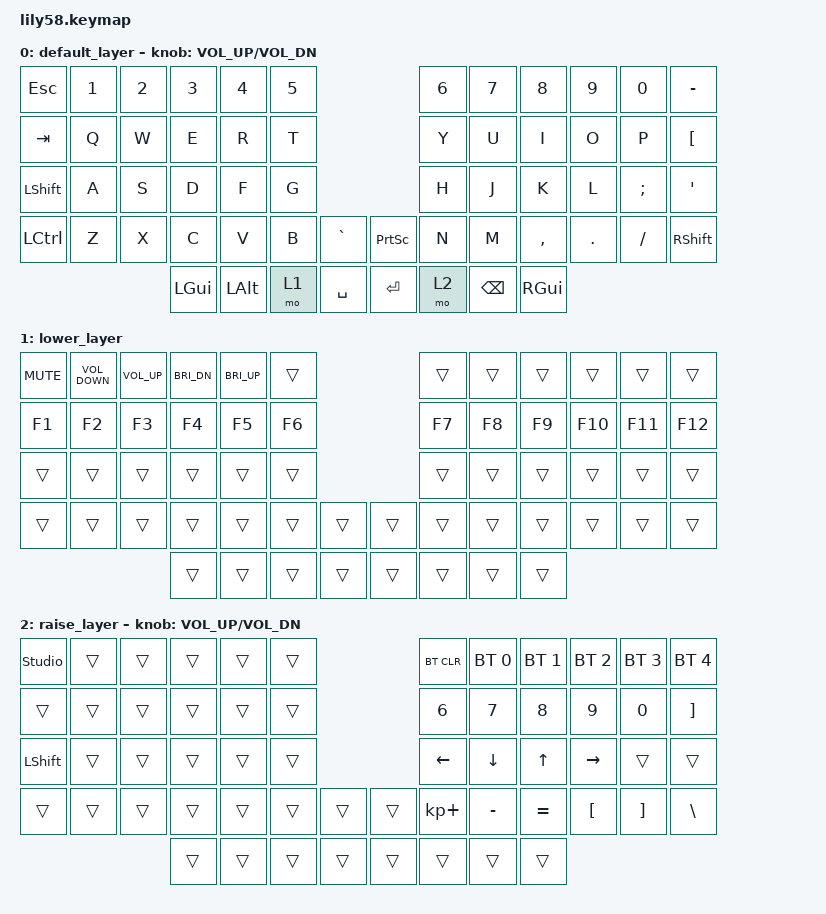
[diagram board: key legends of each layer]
/*
 * Copyright (c) 2020 The ZMK Contributors
 *
 * SPDX-License-Identifier: MIT
 */

#include <behaviors.dtsi>
#include <dt-bindings/zmk/bt.h>
#include <dt-bindings/zmk/keys.h>

/ {
    keymap {
        compatible = "zmk,keymap";

        default_layer {
            // ------------------------------------------------------------------------------------------------------------
            // |  ESC  |  1  |  2  |  3   |  4   |  5   |                   |  6   |  7    |  8    |  9   |   0   |   `   |
            // |  TAB  |  Q  |  W  |  E   |  R   |  T   |                   |  Y   |  U    |  I    |  O   |   P   |   -   |
            // |  CTRL |  A  |  S  |  D   |  F   |  G   |                   |  H   |  J    |  K    |  L   |   ;   |   '   |
            // | SHIFT |  Z  |  X  |  C   |  V   |  B   |   "["  |  |  "]"  |  N   |  M    |  ,    |  .   |   /   | SHIFT |
            //                     | ALT  | GUI  | LOWER|  SPACE |  | ENTER | RAISE| BSPC  | GUI   |

            bindings = <
&kp ESC           &kp N1  &kp N2  &kp N3        &kp N4        &kp N5                                &kp N6  &kp N7    &kp N8     &kp N9   &kp N0    &kp MINUS
&kp TAB           &kp Q   &kp W   &kp E         &kp R         &kp T                                 &kp Y   &kp U     &kp I      &kp O    &kp P     &kp LEFT_BRACKET
&kp LEFT_SHIFT    &kp A   &kp S   &kp D         &kp F         &kp G                                 &kp H   &kp J     &kp K      &kp L    &kp SEMI  &kp SQT
&kp LEFT_CONTROL  &kp Z   &kp X   &kp C         &kp V         &kp B   &kp GRAVE    &kp PRINTSCREEN  &kp N   &kp M     &kp COMMA  &kp DOT  &kp FSLH  &kp RSHFT
                                  &kp LEFT_GUI  &kp LEFT_ALT  &mo 1   &kp SPACE    &kp RET          &mo 2   &kp BSPC  &kp RGUI
            >;

            sensor-bindings = <&inc_dec_kp C_VOL_UP C_VOL_DN>;
        };

        lower_layer {
            // --------------------------------------------------------------------------------------------------------------
            // | LPAD  | BRDn | BRUp |  MUT |  Vo- |  Vo+ |                   |      |       |       |      |       |       |
            // |  F1   |  F2  |  F3  |  F4  |  F5  |  F6  |                   |  F7  |  F8   |  F9   |  F10 |  F11  |  F12  |
            // |   `   |  !   |  @   |  #   |  $   |  %   |                   |  ^   |  &    |  *    |  (   |   )   |   ~   |
            // |       |      |      |      |      |      |        |  |       |      |  _    |  +    |  {   |   }   |  "|"  |
            //                       |      |      |      |        |  |       |      |       |       |

            bindings = <
&kp K_MUTE  &kp C_VOLUME_DOWN  &kp C_VOL_UP  &kp C_BRI_DN  &kp C_BRI_UP  &trans                    &trans  &trans  &trans  &trans   &trans   &trans
&kp F1      &kp F2             &kp F3        &kp F4        &kp F5        &kp F6                    &kp F7  &kp F8  &kp F9  &kp F10  &kp F11  &kp F12
&trans      &trans             &trans        &trans        &trans        &trans                    &trans  &trans  &trans  &trans   &trans   &trans
&trans      &trans             &trans        &trans        &trans        &trans  &trans    &trans  &trans  &trans  &trans  &trans   &trans   &trans
                                             &trans        &trans        &trans  &trans    &trans  &trans  &trans  &trans
            >;
        };

        raise_layer {
            // ------------------------------------------------------------------------------------------------------------
            // |       |     |     |      |      |      |                   |      |       |       |      |       |       |
            // |   `   |  1  |  2  |  3   |  4   |  5   |                   |  6   |   7   |   8   |  9   |   0   |       |
            // |   F1  |  F2 |  F3 |  F4  |  F5  |  F6  |                   |      |   <-  |   v   |  ^   |  ->   |       |
            // |   F7  |  F8 |  F9 |  F10 |  F11 |  F12 |        |  |       |  +   |   -   |   =   |  [   |   ]   |   \   |
            //                     |      |      |      |        |  |       |      |       |       |

            bindings = <
&studio_unlock  &trans  &trans  &trans  &trans  &trans                    &bt BT_CLR      &bt BT_SEL 0    &bt BT_SEL 1  &bt BT_SEL 2     &bt BT_SEL 3  &bt BT_SEL 4
&trans          &trans  &trans  &trans  &trans  &trans                    &kp N6          &kp N7          &kp N8        &kp N9           &kp N0        &kp RIGHT_BRACKET
&kp LEFT_SHIFT  &trans  &trans  &trans  &trans  &trans                    &kp LEFT_ARROW  &kp DOWN_ARROW  &kp UP_ARROW  &kp RIGHT_ARROW  &trans        &trans
&trans          &trans  &trans  &trans  &trans  &trans  &trans    &trans  &kp KP_PLUS     &kp MINUS       &kp EQUAL     &kp LBKT         &kp RBKT      &kp BSLH
                                &trans  &trans  &trans  &trans    &trans  &trans          &trans          &trans
            >;

            sensor-bindings = <&inc_dec_kp C_VOL_UP C_VOL_DN>;
        };
    };
};
